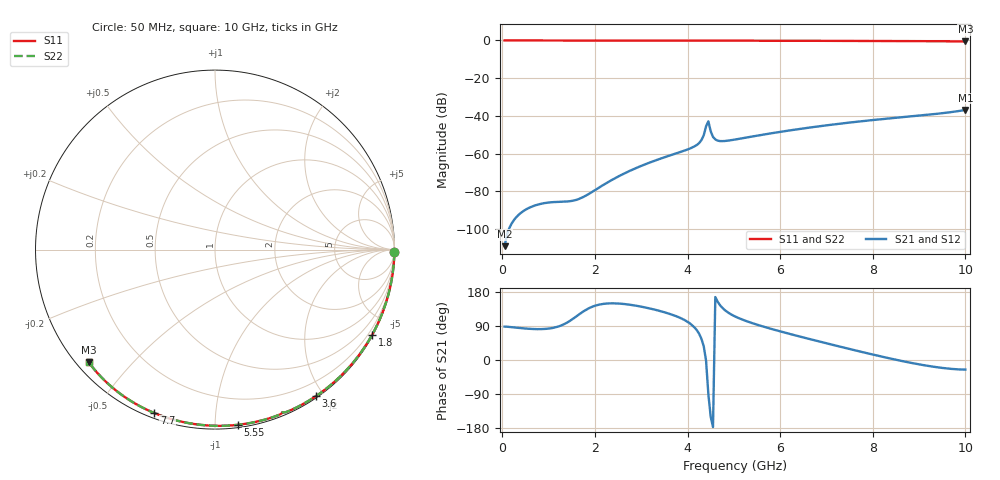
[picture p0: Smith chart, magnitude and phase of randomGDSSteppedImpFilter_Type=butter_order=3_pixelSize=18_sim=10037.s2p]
! freq	dB(S11)	phase(S11)	dB(S12)	phase(S12)
!  dB(S21)	phase(S21)	dB(S22)	phase(S22)
!S-par simulation data
#  GHz  S  DB  R 50
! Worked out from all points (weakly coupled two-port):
!   200 points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, 50 MHz to 10 GHz, reference 50 ohm
!   highest |S21| = -36.90 dB at 10 GHz (marker M1); lowest = -109.2 dB at 50 MHz (marker M2)
!   lowest |S11| = -0.5 dB at 10 GHz (marker M3), VSWR 34.02, Z = 1.68 - j19 ohm
!   |S11| at or under -10 dB: nowhere
!   |S22| runs from -0.5 to 0.0 dB; largest |S21 - S12| = 0
!   S11 on the Smith chart (normalised r, x): 50 MHz: open; 1.8 GHz: 0.03, -3.95; 3.6 GHz: 0.02, -1.90; 5.55 GHz: 0.02, -1.14; 7.7 GHz: 0.02, -0.70; 10 GHz: 0.03, -0.38
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0.05  -0.00 -0.8  -109.17 88.0  -109.17 88.0  -0.00 -0.8
1.75  -0.04 -27.6  -83.06 128.1  -83.06 128.1  -0.04 -27.6
1.8  -0.04 -28.4  -82.41 131.9  -82.41 131.9  -0.04 -28.4
2  -0.04 -31.5  -79.47 143.1  -79.47 143.1  -0.04 -31.5
2.65  -0.05 -41.4  -70.39 147.5  -70.39 147.5  -0.05 -41.4
3.4  -0.07 -52.5  -62.86 129.4  -62.86 129.4  -0.07 -52.5
3.6  -0.07 -55.4  -61.18 122.2  -61.18 122.2  -0.07 -55.4
4.05  -0.09 -62.0  -57.38 96.8  -57.38 96.8  -0.09 -62.0
4.25  -0.09 -64.9  -54.46 69.4  -54.46 69.4  -0.09 -64.9
4.35  -0.10 -66.4  -50.33 36.1  -50.33 36.1  -0.10 -66.4
4.4  -0.13 -67.2  -45.59 -1.6  -45.59 -1.6  -0.13 -67.2
4.45  -0.17 -67.4  -42.90 -90.6  -42.90 -90.6  -0.17 -67.4
4.5  -0.12 -68.1  -48.19 -149.7  -48.19 -149.7  -0.12 -68.1
4.55  -0.11 -68.8  -51.18 -177.0  -51.18 -177.0  -0.11 -68.8
4.6  -0.11 -69.6  -52.51 166.1  -52.51 166.1  -0.11 -69.6
4.75  -0.11 -71.7  -53.42 138.1  -53.42 138.1  -0.11 -71.7
5.05  -0.12 -75.9  -52.49 113.6  -52.49 113.6  -0.12 -75.9
5.55  -0.14 -82.7  -50.33 91.3  -50.33 91.3  -0.14 -82.7
6.7  -0.19 -97.8  -46.01 53.3  -46.01 53.3  -0.19 -97.8
7.7  -0.25 -110.4  -43.02 23.1  -43.02 23.1  -0.25 -110.4
8.35  -0.30 -118.4  -41.39 4.7  -41.39 4.7  -0.30 -118.4
10  -0.51 -138.3  -36.90 -25.3  -36.90 -25.3  -0.51 -138.3
